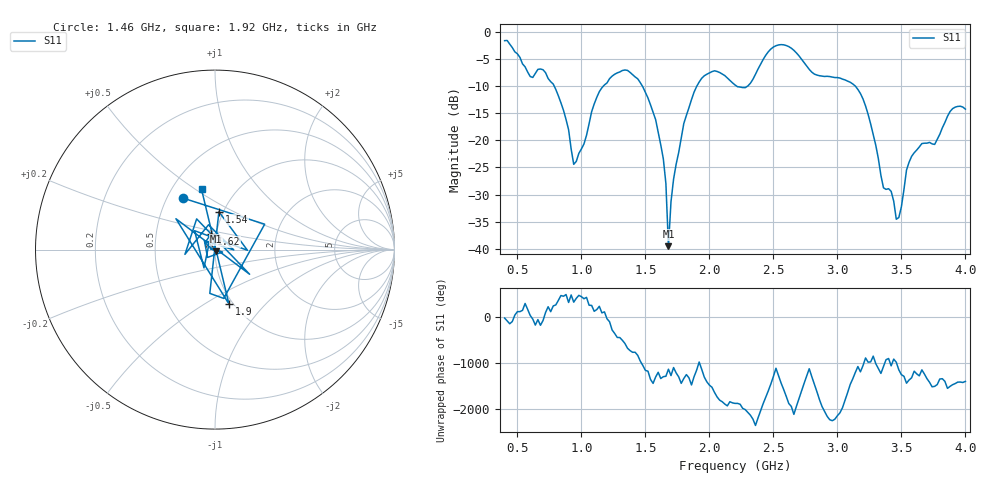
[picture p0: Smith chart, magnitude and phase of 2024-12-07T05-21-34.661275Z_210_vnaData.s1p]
!Created with skrf (http://scikit-rf.org).
# Hz S RI R 50.0
!freq ReS11 ImS11
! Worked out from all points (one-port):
!   181 points, 400 MHz to 4 GHz, reference 50 ohm
!   lowest |S11| = -39.5 dB at 1.68 GHz (marker M1), VSWR 1.02, Z = 50.6 - j0.867 ohm
!   |S11| at or under -10 dB: 787.3 MHz to 1.172 GHz (384.9 MHz wide, 39.3 % of centre); 1.476 GHz to 1.902 GHz (426.2 MHz wide, 25.2 % of centre); 3.14 GHz to end of sweep (the widest 3 of 4)
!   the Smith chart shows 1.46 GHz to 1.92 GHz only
!   S11 on the Smith chart (normalised r, x): 1.46 GHz: 0.60, +0.39; 1.54 GHz: 0.95, +0.42; 1.62 GHz: 0.94, +0.17; 1.9 GHz: 0.96, -0.64; 1.92 GHz: 0.69, +0.53
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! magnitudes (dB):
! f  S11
! 400 MHz  -1.6
! 600 MHz  -8.2
! 720 MHz  -7.5
! 860 MHz  -14.5
! 940 MHz  -24.4
! 1.14 GHz  -11.0
! 1.3 GHz  -7.4
! 1.46 GHz  -9.4
! 1.54 GHz  -13.5
! 1.62 GHz  -20.8
! 1.66 GHz  -27.9
! 1.68 GHz  -39.5
! 1.7 GHz  -31.3
! 1.76 GHz  -22.2
! 1.9 GHz  -10.1
! 1.92 GHz  -9.3
! 2.2 GHz  -9.8
! 2.3 GHz  -10.0
! 2.5 GHz  -2.8
! 2.66 GHz  -3.4
! 3.1 GHz  -9.3
! 3.22 GHz  -13.7
! 3.36 GHz  -28.7
! 3.42 GHz  -29.4
! 3.46 GHz  -34.5
! 3.56 GHz  -24.0
! 3.9 GHz  -14.2
! 4 GHz  -14.3
